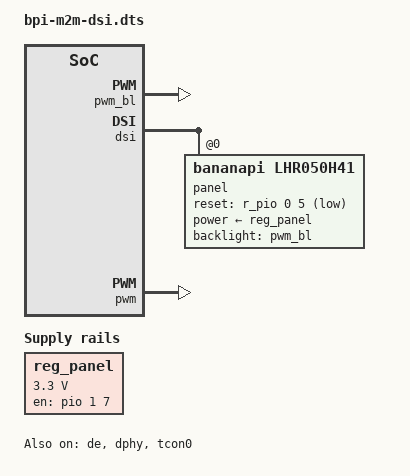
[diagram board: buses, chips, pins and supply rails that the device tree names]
/dts-v1/;
/plugin/;

#include <dt-bindings/gpio/gpio.h>
#include <dt-bindings/pwm/pwm.h>

&{/} {
	pwm_bl: backlight {
		compatible = "pwm-backlight";
		pwms = <&pwm 0 50000 PWM_POLARITY_INVERTED>;
		brightness-levels = <1 2 4 8 16 32 64 128 255>;
		default-brightness-level = <8>;
		enable-gpios = <&r_pio 0 4 GPIO_ACTIVE_HIGH>; /* PG10 */
	};

	reg_panel: reg-panel {
		compatible = "regulator-fixed";
		regulator-name = "panel";
		regulator-min-microvolt = <3300000>;
		regulator-max-microvolt = <3300000>;
		gpio = <&pio 1 7 GPIO_ACTIVE_HIGH>; /* PB07 */
		enable-active-high;
	};
};

&de {
	status = "okay";
};

&dphy {
	status = "okay";
};

&dsi {
	#address-cells = <1>;
	#size-cells = <0>;
	status = "okay";

	panel@0 {
		compatible = "bananapi,lhr050h41", "ilitek,ili9881c";
		reg = <0>;
		reset-gpios = <&r_pio 0 5 GPIO_ACTIVE_LOW>; /* PL05 */
		power-supply = <&reg_panel>;
		backlight = <&pwm_bl>;
	};
};

&pwm {
	pinctrl-names = "default";
	pinctrl-0 = <&pwm0_pins>;
	status = "okay";
};

&tcon0 {
	status = "okay";
};
